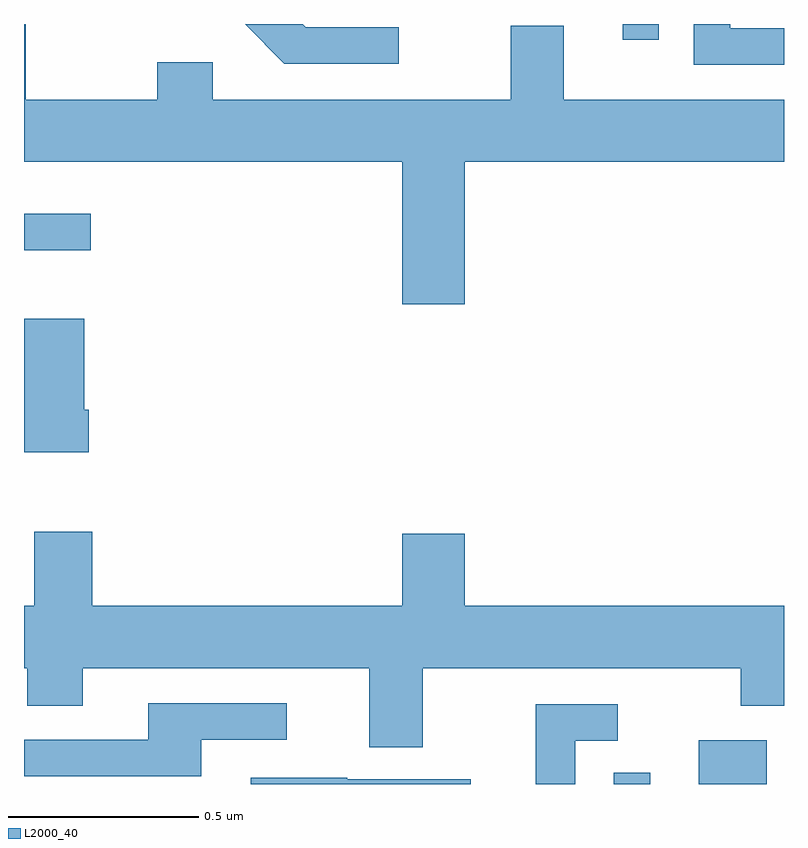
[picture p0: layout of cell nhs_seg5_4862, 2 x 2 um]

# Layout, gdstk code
import gdstk
lib = gdstk.Library(unit=1e-6, precision=1e-09)
def R(c, l, rs):  # rectangles x0, y0, x1, y1
    for r in rs: c.add(gdstk.rectangle(r[:2], r[2:], *l))
def P(c, l, *ps):  # polygons
    for p in ps: c.add(gdstk.Polygon(p, *l))
L2000_40 = (2000, 40)

nhs_seg5_4862 = lib.new_cell('nhs_seg5_4862')
R(nhs_seg5_4862, L2000_40, [(177.552,845.799,177.648,845.828), (177.776,845.799,177.955,845.914), (176,847.203,176.176,847.3), (177.575,847.758,177.671,847.799)])
P(nhs_seg5_4862, L2000_40, [(177.16,847.436),(178,847.436),(178,847.6),(177.421,847.6),(177.421,847.795),(177.281,847.795),(177.281,847.6),(176.497,847.6),(176.497,847.699),(176.35,847.699),(176.35,847.6),(176.005,847.6),(176.005,847.799),(176,847.799),(176,847.436),(176.996,847.436),(176.996,847.062),(177.16,847.062)],
  [(176.986,847.791),(176.742,847.791),(176.734,847.799),(176.582,847.799),(176.685,847.695),(176.986,847.695)],
  [(178,847.788),(177.858,847.788),(177.858,847.799),(177.762,847.799),(177.762,847.692),(178,847.692)],
  [(176.171,846.784),(176.158,846.784),(176.158,847.024),(176,847.024),(176,846.672),(176.171,846.672)],
  [(177.049,846.104),(177.886,846.104),(177.886,846.005),(178,846.005),(178,846.268),(177.16,846.268),(177.16,846.457),(176.996,846.457),(176.996,846.268),(176.18,846.268),(176.18,846.463),(176.027,846.463),(176.027,846.268),(176,846.268),(176,846.104),(176.008,846.104),(176.008,846.005),(176.155,846.005),(176.155,846.104),(176.909,846.104),(176.909,845.896),(177.049,845.896)],
  [(176.467,845.916),(176.692,845.916),(176.692,846.012),(176.327,846.012),(176.327,845.916),(176,845.916),(176,845.82),(176.467,845.82)],
  [(177.451,845.913),(177.562,845.913),(177.562,846.009),(177.347,846.009),(177.347,845.799),(177.451,845.799)],
  [(177.175,845.811),(176.851,845.811),(176.851,845.815),(176.597,845.815),(176.597,845.799),(177.175,845.799)])

lib.write_gds('nhs_seg5_4862.gds')
